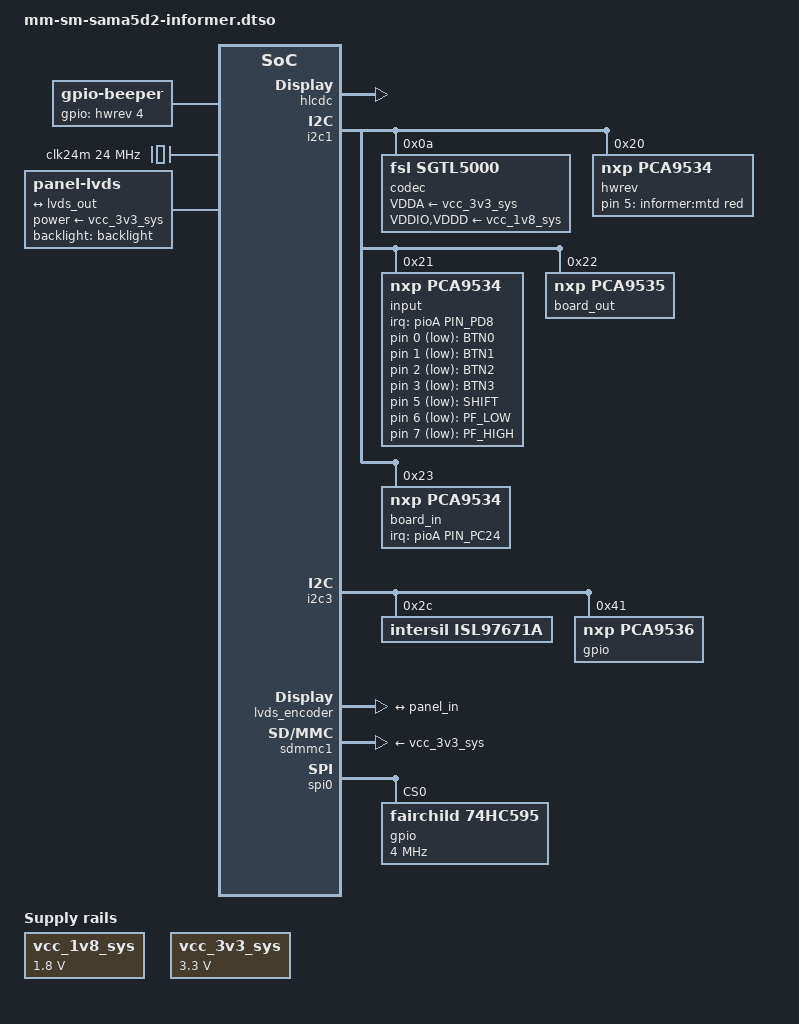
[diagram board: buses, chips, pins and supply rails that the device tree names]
/* SPDX-License-Identifier: GPL-2.0+ */
/* SPDX-FileCopyrightText: Alexander Shiyan <shc_work@mail.ru> */

/dts-v1/;
/plugin/;

#include <arm/microchip/sama5d2-pinfunc.h>
#include <dt-bindings/gpio/gpio.h>
#include <dt-bindings/input/input.h>
#include <dt-bindings/interrupt-controller/irq.h>
#include <dt-bindings/leds/common.h>

&{/} {
	model = "Mega-Milas Informer SAMA5D2";
	compatible = "milas,informer-sama5d2", "milas,mm-sm-sama5d2",
		     "atmel,sama5d27", "atmel,sama5d2", "atmel,sama5";

	beeper {
		compatible = "gpio-beeper";
		gpios = <&hwrev 4 GPIO_ACTIVE_HIGH>;
	};

	clk24m: clk24m {
		compatible = "fixed-clock";
		clock-frequency = <24000000>;
		#clock-cells = <0>;
	};

	gpio-keys {
		compatible = "gpio-keys";

		/* DOOR1 (SmallIA) */
		/* Call (TalkBox) */
		button0 {
			label = "BTN0";
			linux,code = <0x0100>;
			linux,input-type = <EV_KEY>;
			gpios = <&input 0 GPIO_ACTIVE_LOW>;
		};

		/* DOOR2 (SmallIA) */
		button1 {
			label = "BTN1";
			linux,code = <0x0101>;
			linux,input-type = <EV_KEY>;
			gpios = <&input 1 GPIO_ACTIVE_LOW>;
		};

		/* DOOR3 (SmallIA) */
		button2 {
			label = "BTN2";
			linux,code = <0x0102>;
			linux,input-type = <EV_KEY>;
			gpios = <&input 2 GPIO_ACTIVE_LOW>;
		};

		/* REPEAT (SmallIA) */
		button3 {
			label = "BTN3";
			linux,code = <0x0103>;
			linux,input-type = <EV_KEY>;
			gpios = <&input 3 GPIO_ACTIVE_LOW>;
		};

		/* 4 - LED output (TalkBox), SOUND_WORLD (Informer) */

		/* SHIFT/REVERSE (Informer) */
		button5 {
			label = "SHIFT";
			linux,code = <SW_LID>;
			linux,input-type = <EV_SW>;
			gpios = <&input 5 GPIO_ACTIVE_LOW>;
		};

		button6 {
			label = "PF_LOW";
			linux,code = <SW_TABLET_MODE>;
			linux,input-type = <EV_SW>;
			debounce-interval = <0>;
			gpios = <&input 6 GPIO_ACTIVE_LOW>;
		};

		button7 {
			label = "PF_HIGH";
			linux,code = <SW_HEADPHONE_INSERT>;
			linux,input-type = <EV_SW>;
			debounce-interval = <0>;
			gpios = <&input 7 GPIO_ACTIVE_LOW>;
		};
	};

	panel {
		compatible = "panel-lvds";
		backlight = <&backlight>;
		data-mapping = "jeida-18";
		power-supply = <&vcc_3v3_sys>;
		width-mm = <0>;
		height-mm = <0>;

#if 0
		/* AT070TN94 */
		panel-timing {
			clock-frequency = <26400000 33300000 46800000>;
			hactive = <800>;
			vactive = <480>;
			hback-porch = <46>;
			hfront-porch = <16 209 354>;
			hsync-len = <1 1 40>;
			vback-porch = <23>;
			vfront-porch = <7 21 147>;
			vsync-len = <1 1 20>;
			hsync-active = <0>;
			vsync-active = <0>;
			de-active = <1>;
			pixelclk-active = <0>;
		};
#endif

		/* PH320240T, G057QN01 */
		panel-timing {
			clock-frequency = <6400000>;
			hactive = <320>;
			vactive = <240>;
			hback-porch = <38>;
			hfront-porch = <20>;
			hsync-len = <30>;
			vback-porch = <15>;
			vfront-porch = <5>;
			vsync-len = <1 3 5>;
			hsync-active = <0>;
			vsync-active = <0>;
			de-active = <1>;
			pixelclk-active = <1>;
		};

		port {
			panel_in: endpoint {
				remote-endpoint = <&lvds_out>;
			};
		};
	};

	sound {
		compatible = "simple-audio-card";
		simple-audio-card,format = "i2s";
		simple-audio-card,bitclock-master = <&sound_master>;
		simple-audio-card,frame-master = <&sound_master>;
		simple-audio-card,mclk-fs = <512>;
		simple-audio-card,name = "I2S0SGTL5000";

		sound_master: simple-audio-card,cpu {
			sound-dai = <&i2s0>;
		};

		simple-audio-card,codec {
			sound-dai = <&codec>;
		};
	};

	vcc_1v8_sys: vcc-1v8-sys-regulator {
		compatible = "regulator-fixed";
		regulator-name = "vcc_1v8_sys";
		regulator-min-microvolt = <1800000>;
		regulator-max-microvolt = <1800000>;
		regulator-always-on;
		regulator-boot-on;
	};

	vcc_3v3_sys: vcc-3v3-sys-regulator {
		compatible = "regulator-fixed";
		regulator-name = "vcc_3v3_sys";
		regulator-min-microvolt = <3300000>;
		regulator-max-microvolt = <3300000>;
		regulator-always-on;
		regulator-boot-on;
	};
};

&hlcdc {
	status = "okay";

	hlcdc-display-controller {
		bus-width = <18>;
	};
};

&i2c1 {
	#address-cells = <1>;
	#size-cells = <0>;

	codec: codec@a {
		compatible = "fsl,sgtl5000";
		reg =<0xa>;
		clocks = <&clk24m>;
		micbias-resistor-k-ohms = <0>;
		VDDA-supply = <&vcc_3v3_sys>;
		VDDIO-supply = <&vcc_1v8_sys>;
		VDDD-supply = <&vcc_1v8_sys>;
		#sound-dai-cells = <0>;
	};

	hwrev: gpio@20 {
		/* HW Revision */
		compatible = "nxp,pca9534";
		reg = <0x20>;
		gpio-controller;
		#gpio-cells = <2>;
	};

	input: gpio@21 {
		pinctrl-names = "default";
		pinctrl-0 = <&pinctrl_input>;
		compatible = "nxp,pca9534";
		reg = <0x21>;
		gpio-controller;
		interrupt-parent = <&pioA>;
		interrupts = <PIN_PD8 IRQ_TYPE_EDGE_BOTH>;
		interrupt-controller;

		#gpio-cells = <2>;
		#interrupt-cells = <2>;
	};

	board_out: gpio@22 {
		compatible = "nxp,pca9535";
		reg = <0x22>;
		gpio-controller;

		#gpio-cells = <2>;
	};

	board_in: gpio@23 {
		pinctrl-names = "default";
		pinctrl-0 = <&pinctrl_board_in>;
		compatible = "nxp,pca9534";
		reg = <0x23>;
		gpio-controller;
		interrupt-parent = <&pioA>;
		interrupts = <PIN_PC24 IRQ_TYPE_EDGE_BOTH>;
		interrupt-controller;

		#gpio-cells = <2>;
		#interrupt-cells = <2>;
	};
};

&i2c3 {
	#address-cells = <1>;
	#size-cells = <0>;

	isl97671a@2c {
		compatible = "intersil,isl97671a";
		reg = <0x2c>;
	};

	gpio@41 {
		/* Display ID */
		compatible = "nxp,pca9536";
		reg = <0x41>;
		gpio-controller;
		#gpio-cells = <2>;
	};
};

&leds {
	led-mtd {
		label = "informer:mtd";
		gpios = <&hwrev 5 GPIO_ACTIVE_HIGH>;
		function = LED_FUNCTION_MTD;
		color = <LED_COLOR_ID_RED>;
		linux,default-trigger = LED_FUNCTION_MTD;
		default-state = "off";
	};
};

&lvds_encoder {
	status = "okay";

	ports {
		#address-cells = <1>;
		#size-cells = <0>;

		port@1 {
			reg = <1>;

			lvds_out: endpoint {
				remote-endpoint = <&panel_in>;
			};
		};
	};
};

&sdmmc1 {
	vmmc-supply = <&vcc_3v3_sys>;
};

&spi0 {
	#address-cells = <1>;
	#size-cells = <0>;

	gpio@0 {
		compatible = "fairchild,74hc595";
		reg = <0>;
		spi-max-frequency = <4000000>;
		registers-number = <2>;
		gpio-controller;
		#gpio-cells = <2>;
	};
};

&pioA {
	pinctrl_board_in: board-in-grp {
		pinmux = <PIN_PC24__GPIO>;
		bias-disable;
	};

	pinctrl_input: input-grp {
		pinmux = <PIN_PD8__GPIO>;
		bias-disable;
	};

	pinctrl_hlcdc_default: hlcdc-grp-default {
		bits24 {
			pinmux = <PIN_PB11__GPIO>,
				 <PIN_PB12__GPIO>,
				 <PIN_PB19__GPIO>,
				 <PIN_PB20__GPIO>,
				 <PIN_PB27__GPIO>,
				 <PIN_PB28__GPIO>;
			bias-pull-down;
		};
	};
};
